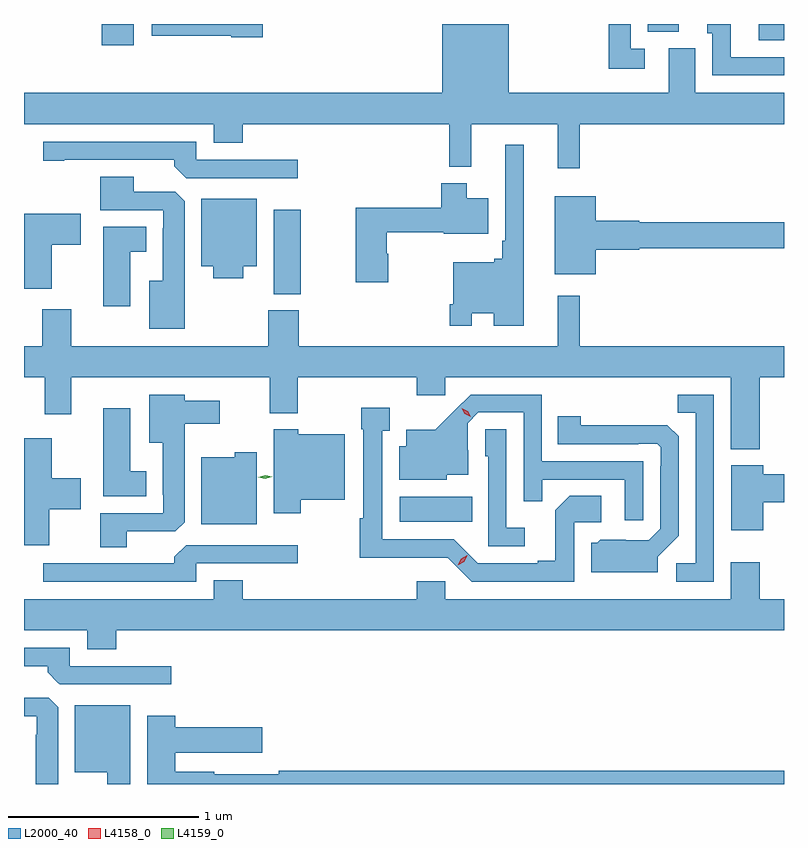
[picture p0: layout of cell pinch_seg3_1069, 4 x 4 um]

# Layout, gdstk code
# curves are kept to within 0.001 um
import gdstk
lib = gdstk.Library(unit=1e-6, precision=1e-09)
def R(c, l, rs):  # rectangles x0, y0, x1, y1
    for r in rs: c.add(gdstk.rectangle(r[:2], r[2:], *l))
def P(c, l, *ps):  # polygons
    for p in ps: c.add(gdstk.Polygon(p, *l))
L2000_40 = (2000, 40)
L4158_0 = (4158, 0)
L4159_0 = (4159, 0)

pinch_seg3_1069 = lib.new_cell('pinch_seg3_1069')
R(pinch_seg3_1069, L2000_40, [(324.744,670.85,325.124,670.984), (324.08,672.049,324.222,672.493), (323.174,673.359,323.344,673.471), (326.634,673.386,326.766,673.471), (326.048,673.429,326.212,673.471)])
P(pinch_seg3_1069, L2000_40, [(325.691,672.944),(326.766,672.944),(326.766,673.108),(326.299,673.108),(326.299,673.344),(326.159,673.344),(326.159,673.108),(325.318,673.108),(325.318,673.471),(324.968,673.471),(324.968,673.108),(322.766,673.108),(322.766,672.944),(323.765,672.944),(323.765,672.845),(323.918,672.845),(323.918,672.944),(325.003,672.944),(325.003,672.719),(325.121,672.719),(325.121,672.944),(325.574,672.944),(325.574,672.711),(325.691,672.711)],
  [(326.032,673.341),(325.959,673.341),(325.959,673.471),(325.843,673.471),(325.843,673.236),(326.032,673.236)],
  [(324.023,673.471),(323.439,673.471),(323.439,673.41),(323.856,673.41),(323.856,673.402),(324.023,673.402)],
  [(326.766,673.296),(326.485,673.296),(326.485,673.471),(326.363,673.471),(326.363,673.422),(326.388,673.422),(326.388,673.2),(326.766,673.2)],
  [(324.208,672.756),(323.673,672.756),(323.673,672.852),(322.866,672.852),(322.866,672.751),(322.978,672.751),(322.978,672.756),(323.558,672.756),(323.558,672.722),(323.619,672.66),(324.208,672.66)],
  [(325.122,671.948),(325.238,671.948),(325.238,671.883),(325.396,671.883),(325.396,672.835),(325.299,672.835),(325.299,672.331),(325.283,672.331),(325.283,672.235),(325.242,672.235),(325.242,672.217),(325.026,672.217),(325.026,671.995),(325.006,671.995),(325.006,671.883),(325.122,671.883)],
  [(323.611,672.539),(323.562,672.588),(323.344,672.588),(323.344,672.667),(323.168,672.667),(323.168,672.492),(323.499,672.492),(323.499,672.395),(323.495,672.395),(323.495,672.121),(323.426,672.121),(323.426,671.867),(323.611,671.867)],
  [(324.684,672.261),(324.676,672.261),(324.676,672.376),(324.974,672.376),(324.974,672.366),(325.209,672.366),(325.209,672.553),(325.096,672.553),(325.096,672.634),(324.962,672.634),(324.962,672.505),(324.511,672.505),(324.511,672.111),(324.684,672.111)],
  [(325.774,672.284),(326.004,672.284),(326.004,672.292),(326.766,672.292),(326.766,672.428),(326.004,672.428),(326.004,672.436),(325.774,672.436),(325.774,672.565),(325.559,672.565),(325.559,672.155),(325.774,672.155)],
  [(323.92,672.197),(323.992,672.197),(323.992,672.55),(323.699,672.55),(323.699,672.197),(323.762,672.197),(323.762,672.134),(323.92,672.134)],
  [(322.912,672.31),(323.065,672.31),(323.065,672.472),(322.766,672.472),(322.766,672.077),(322.912,672.077)],
  [(323.326,672.272),(323.41,672.272),(323.41,672.403),(323.183,672.403),(323.183,671.985),(323.326,671.985)],
  [(326.639,671.612),(326.766,671.612),(326.766,671.776),(325.691,671.776),(325.691,672.04),(325.574,672.04),(325.574,671.776),(324.212,671.776),(324.212,671.964),(324.052,671.964),(324.052,671.776),(323.014,671.776),(323.014,671.971),(322.862,671.971),(322.862,671.776),(322.766,671.776),(322.766,671.612),(322.874,671.612),(322.874,671.418),(323.014,671.418),(323.014,671.612),(324.059,671.612),(324.059,671.423),(324.207,671.423),(324.207,671.612),(324.833,671.612),(324.833,671.517),(324.984,671.517),(324.984,671.612),(326.486,671.612),(326.486,671.234),(326.639,671.234)],
  [(323.308,670.8),(323.562,670.8),(323.611,670.849),(323.611,671.366),(323.797,671.366),(323.797,671.488),(323.611,671.488),(323.611,671.521),(323.426,671.521),(323.426,671.267),(323.495,671.267),(323.495,670.993),(323.499,670.993),(323.499,670.896),(323.168,670.896),(323.168,670.717),(323.308,670.717)],
  [(326.397,671.52),(326.206,671.52),(326.206,671.425),(326.301,671.425),(326.301,670.632),(326.199,670.632),(326.199,670.536),(326.397,670.536)],
  [(326.025,671.169),(325.491,671.169),(325.491,671.52),(325.118,671.52),(324.931,671.335),(324.779,671.335),(324.779,671.248),(324.74,671.248),(324.74,671.072),(324.99,671.072),(324.99,671.099),(325.105,671.099),(325.105,671.228),(325.101,671.228),(325.101,671.37),(325.158,671.427),(325.395,671.427),(325.395,670.96),(325.493,670.96),(325.493,671.073),(325.929,671.073),(325.929,670.86),(326.025,670.86)],
  [(325.662,670.848),(325.804,670.848),(325.804,670.988),(325.639,670.988),(325.563,670.912),(325.563,670.645),(325.469,670.645),(325.469,670.632),(325.155,670.632),(325.029,670.758),(324.652,670.758),(324.652,671.331),(324.691,671.331),(324.691,671.452),(324.541,671.452),(324.541,671.339),(324.551,671.339),(324.551,670.871),(324.534,670.871),(324.534,670.661),(324.996,670.662),(325.122,670.536),(325.662,670.536)],
  [(323.41,671.116),(323.326,671.116),(323.326,671.449),(323.183,671.449),(323.183,670.985),(323.41,670.985)],
  [(326.101,670.668),(326.211,670.778),(326.211,671.3),(326.152,671.359),(325.695,671.36),(325.695,671.407),(325.576,671.407),(325.576,671.259),(326,671.259),(326,671.262),(326.1,671.262),(326.118,671.244),(326.118,671.144),(326.115,671.144),(326.115,670.815),(326.055,670.755),(325.798,670.756),(325.782,670.74),(325.751,670.74),(325.751,670.586),(326.101,670.586)],
  [(325.402,670.819),(325.305,670.819),(325.305,671.339),(325.194,671.339),(325.194,671.196),(325.209,671.196),(325.209,670.722),(325.402,670.722)],
  [(324.222,670.967),(324.454,670.967),(324.454,671.311),(324.21,671.311),(324.21,671.338),(324.08,671.338),(324.08,670.896),(324.222,670.896)],
  [(322.9,670.916),(323.065,670.916),(323.065,671.079),(322.912,671.079),(322.912,671.29),(322.766,671.29),(322.766,670.727),(322.9,670.727)],
  [(323.992,671.218),(323.874,671.218),(323.874,671.191),(323.699,671.191),(323.699,670.838),(323.992,670.838)],
  [(326.656,670.955),(326.766,670.955),(326.766,671.102),(326.656,671.102),(326.656,671.149),(326.489,671.149),(326.489,670.806),(326.656,670.806)],
  [(323.673,670.632),(324.208,670.632),(324.208,670.728),(323.619,670.728),(323.558,670.666),(323.558,670.632),(322.866,670.632),(322.866,670.536),(323.673,670.536)],
  [(323.252,670.28),(326.766,670.28),(326.766,670.444),(326.639,670.444),(326.639,670.639),(326.486,670.639),(326.486,670.444),(324.984,670.444),(324.984,670.537),(324.833,670.537),(324.833,670.444),(323.918,670.444),(323.918,670.543),(323.765,670.543),(323.765,670.444),(322.766,670.444),(322.766,670.28),(323.099,670.28),(323.099,670.181),(323.252,670.181)],
  [(323.542,670.092),(323.007,670.092),(323.007,670.188),(322.766,670.188),(322.766,670.092),(322.892,670.092),(322.892,670.058),(322.944,670.005),(322.953,669.996),(323.542,669.996)],
  [(322.945,669.875),(322.896,669.924),(322.766,669.924),(322.766,669.828),(322.833,669.828),(322.833,669.731),(322.829,669.731),(322.829,669.471),(322.945,669.471)],
  [(323.326,669.886),(323.033,669.886),(323.033,669.533),(323.204,669.533),(323.204,669.471),(323.326,669.471)],
  [(326.766,669.542),(324.106,669.542),(324.106,669.522),(323.766,669.522),(323.766,669.535),(323.561,669.535),(323.561,669.635),(324.019,669.635),(324.019,669.77),(323.561,669.77),(323.561,669.829),(323.414,669.829),(323.414,669.471),(326.766,669.471)])
P(pinch_seg3_1069, L4158_0, [(325.118,671.403),(325.087,671.419),(325.07,671.448),(325.07,671.449),(325.07,671.449),(325.101,671.433),(325.118,671.404),(325.118,671.403)],
  [(325.05,670.622),(325.05,670.623),(325.067,670.656),(325.099,670.675),(325.099,670.675),(325.099,670.674),(325.082,670.642),(325.05,670.622)])
P(pinch_seg3_1069, L4159_0, [(324.036,671.077),(323.999,671.086),(323.999,671.086),(323.999,671.086),(324.036,671.097),(324.072,671.088),(324.073,671.088),(324.072,671.088)])

lib.write_gds('pinch_seg3_1069.gds')
